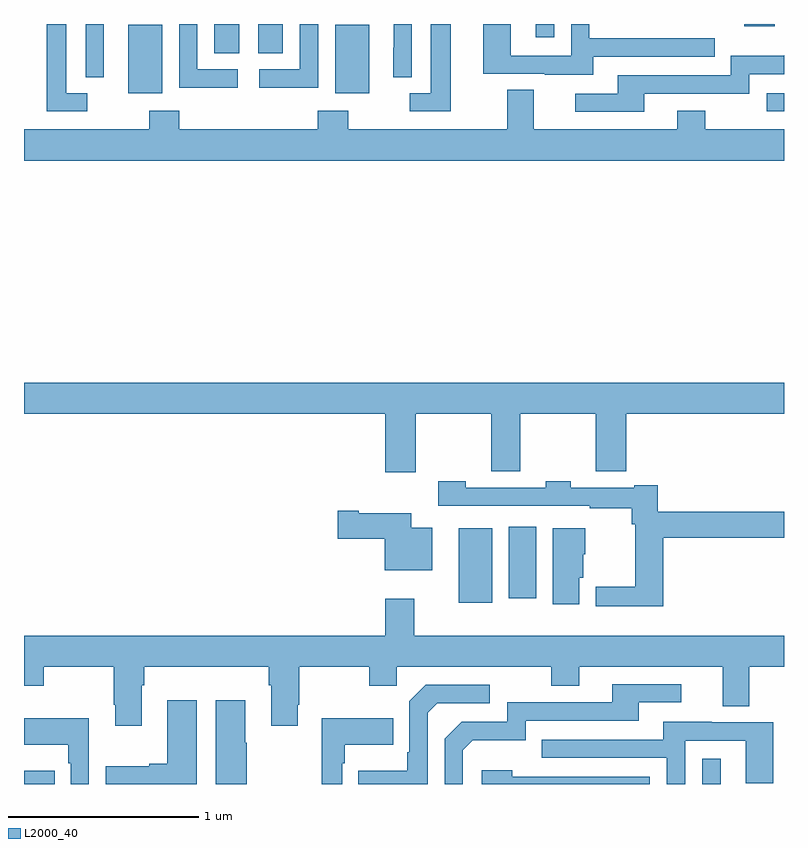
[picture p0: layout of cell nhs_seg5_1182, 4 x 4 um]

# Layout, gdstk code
import gdstk
lib = gdstk.Library(unit=1e-6, precision=1e-09)
def R(c, l, rs):  # rectangles x0, y0, x1, y1
    for r in rs: c.add(gdstk.rectangle(r[:2], r[2:], *l))
def P(c, l, *ps):  # polygons
    for p in ps: c.add(gdstk.Polygon(p, *l))
L2000_40 = (2000, 40)

nhs_seg5_1182 = lib.new_cell('nhs_seg5_1182')
R(nhs_seg5_1182, L2000_40, [(183,866.799,183.161,866.869), (186.57,866.799,186.667,866.932), (185.288,867.752,185.464,868.144), (185.552,867.777,185.695,868.153), (186.909,870.339,187,870.435), (183.548,870.434,183.727,870.795), (184.637,870.434,184.816,870.795), (184.001,870.646,184.132,870.799), (184.232,870.646,184.363,870.799), (185.693,870.729,185.79,870.799), (186.791,870.788,186.952,870.799)])
P(nhs_seg5_1182, L2000_40, [(183.334,870.435),(183.223,870.435),(183.223,870.799),(183.119,870.799),(183.119,870.339),(183.334,870.339)],
  [(185.995,870.627),(186.635,870.627),(186.635,870.723),(185.976,870.723),(185.976,870.799),(185.88,870.799),(185.88,870.633),(185.562,870.633),(185.562,870.799),(185.417,870.799),(185.417,870.537),(185.741,870.537),(185.741,870.533),(185.995,870.533)],
  [(184.126,870.561),(183.912,870.561),(183.912,870.799),(183.816,870.799),(183.816,870.463),(184.126,870.463)],
  [(183.42,870.674),(183.419,870.674),(183.419,870.797),(183.421,870.799),(183.324,870.799),(183.324,870.52),(183.42,870.52)],
  [(185.245,870.799),(185.141,870.799),(185.141,870.435),(185.031,870.435),(185.031,870.339),(185.245,870.339)],
  [(185.04,870.799),(184.944,870.799),(184.946,870.797),(184.946,870.674),(184.944,870.674),(184.944,870.52),(185.04,870.52)],
  [(184.548,870.799),(184.452,870.799),(184.452,870.561),(184.239,870.561),(184.239,870.463),(184.548,870.463)],
  [(186.265,870.432),(186.816,870.432),(186.816,870.534),(187,870.534),(187,870.634),(186.997,870.631),(186.72,870.631),(186.72,870.528),(186.125,870.528),(186.125,870.432),(185.901,870.432),(185.901,870.336),(186.265,870.336)],
  [(187,870.244),(186.585,870.244),(186.585,870.343),(186.437,870.343),(186.437,870.244),(185.683,870.244),(185.683,870.452),(185.543,870.452),(185.543,870.244),(184.707,870.244),(184.707,870.343),(184.547,870.343),(184.547,870.244),(183.818,870.244),(183.818,870.343),(183.658,870.343),(183.658,870.244),(183,870.244),(183,870.08),(187,870.08)],
  [(185.061,868.748),(185.458,868.748),(185.458,868.444),(185.612,868.444),(185.612,868.748),(186.01,868.748),(186.01,868.444),(186.17,868.444),(186.17,868.748),(187,868.748),(187,868.912),(183,868.912),(183,868.748),(184.901,868.748),(184.901,868.44),(185.061,868.44)],
  [(186.365,868.096),(187,868.096),(187,868.232),(186.335,868.232),(186.335,868.372),(186.212,868.372),(186.212,868.359),(185.877,868.359),(185.877,868.392),(185.745,868.392),(185.745,868.359),(185.325,868.359),(185.325,868.392),(185.181,868.392),(185.181,868.263),(185.977,868.263),(185.977,868.251),(186.199,868.251),(186.199,868.166),(186.218,868.166),(186.218,867.836),(186.009,867.836),(186.009,867.734),(186.365,867.734)],
  [(185.149,868.147),(185.038,868.147),(185.038,868.225),(184.762,868.225),(184.762,868.238),(184.65,868.238),(184.65,868.091),(184.898,868.091),(184.898,867.923),(185.149,867.923)],
  [(185.923,867.885),(185.944,867.885),(185.944,868.008),(185.953,868.008),(185.953,868.144),(185.783,868.144),(185.783,867.744),(185.923,867.744)],
  [(183.619,867.32),(183.632,867.32),(183.632,867.416),(184.289,867.416),(184.289,867.32),(184.301,867.32),(184.301,867.105),(184.441,867.105),(184.441,867.217),(184.449,867.217),(184.449,867.416),(184.816,867.416),(184.816,867.317),(184.962,867.317),(184.962,867.416),(185.776,867.416),(185.776,867.317),(185.923,867.317),(185.923,867.416),(186.677,867.416),(186.677,867.208),(186.817,867.208),(186.817,867.416),(187,867.416),(187,867.58),(185.053,867.58),(185.053,867.775),(184.901,867.775),(184.901,867.58),(183,867.58),(183,867.317),(183.105,867.317),(183.105,867.416),(183.472,867.416),(183.472,867.217),(183.479,867.217),(183.479,867.105),(183.619,867.105)],
  [(185.31,866.976),(185.363,867.029),(185.64,867.029),(185.64,867.132),(186.235,867.132),(186.235,867.228),(186.46,867.228),(186.46,867.324),(186.095,867.324),(186.095,867.228),(185.544,867.228),(185.544,867.126),(185.304,867.126),(185.214,867.036),(185.214,866.799),(185.31,866.799)],
  [(185.124,867.174),(185.175,867.225),(185.452,867.225),(185.452,867.321),(185.115,867.321),(185.028,867.234),(185.028,866.965),(185.016,866.965),(185.016,866.869),(184.759,866.869),(184.759,866.799),(185.124,866.799)],
  [(183.91,867.241),(183.755,867.241),(183.755,866.906),(183.659,866.906),(183.659,866.893),(183.429,866.893),(183.429,866.799),(183.91,866.799)],
  [(184.173,867.017),(184.165,867.017),(184.165,867.241),(184.01,867.241),(184.01,866.799),(184.173,866.799)],
  [(184.674,866.909),(184.687,866.909),(184.687,867.005),(184.943,867.005),(184.943,867.145),(184.566,867.145),(184.566,866.799),(184.674,866.799)],
  [(183.342,867.145),(183,867.145),(183,867.005),(183.234,867.005),(183.234,866.909),(183.246,866.909),(183.246,866.799),(183.342,866.799)],
  [(186.48,867.027),(186.798,867.027),(186.798,866.803),(186.943,866.803),(186.943,867.123),(186.619,867.123),(186.619,867.127),(186.365,867.127),(186.365,867.033),(185.725,867.033),(185.725,866.937),(186.384,866.937),(186.384,866.799),(186.48,866.799)],
  [(186.294,866.838),(185.57,866.838),(185.57,866.872),(185.409,866.872),(185.409,866.799),(186.294,866.799)])

lib.write_gds('nhs_seg5_1182.gds')
